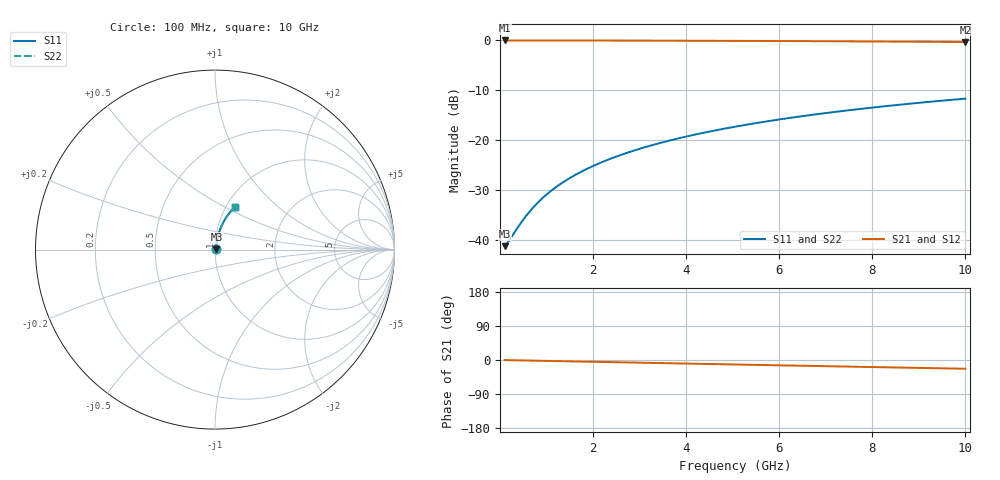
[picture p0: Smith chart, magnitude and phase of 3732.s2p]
# Hz S RI R 50.00
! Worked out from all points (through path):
!   100 points, 100 MHz to 10 GHz, reference 50 ohm
!   highest |S21| = -0.07 dB at 100 MHz (marker M1); lowest = -0.4 dB at 10 GHz (marker M2)
!   group delay of S21, straight-line fit = 6.42 ps
!   lowest |S11| = -41.2 dB at 100 MHz (marker M3), VSWR 1.02, Z = 50.8 + j0.274 ohm
!   |S11| at or under -10 dB: start of sweep to end of sweep
!   |S22| runs from -41.2 to -11.7 dB; largest |S21 - S12| = 0
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1e8  0.00829 0.00269  0.9917 -0.00408  0.9917 -0.00408  0.00829 0.00269
2e8  0.00837 0.00539  0.9916 -0.00816  0.9916 -0.00816  0.00837 0.00539
4e8  0.00858 0.0108  0.9914 -0.0163  0.9914 -0.0163  0.00858 0.0108
5e8  0.0087 0.0135  0.9913 -0.0204  0.9913 -0.0204  0.0087 0.0135
6e8  0.00885 0.0161  0.9911 -0.0245  0.9911 -0.0245  0.00885 0.0161
7e8  0.00902 0.0188  0.9909 -0.0285  0.9909 -0.0285  0.00902 0.0188
9e8  0.00941 0.0242  0.9905 -0.0367  0.9905 -0.0367  0.00941 0.0242
1.1e9  0.00988 0.0296  0.99 -0.0448  0.99 -0.0448  0.00988 0.0296
1.3e9  0.0104 0.0349  0.9894 -0.0529  0.9894 -0.0529  0.0104 0.0349
1.5e9  0.0111 0.0403  0.9887 -0.061  0.9887 -0.061  0.0111 0.0403
1.8e9  0.0122 0.0482  0.9874 -0.0732  0.9874 -0.0732  0.0122 0.0482
2.1e9  0.0135 0.0562  0.986 -0.0853  0.986 -0.0853  0.0135 0.0562
2.5e9  0.0156 0.0667  0.9838 -0.1013  0.9838 -0.1013  0.0156 0.0667
2.9e9  0.018 0.0771  0.9812 -0.1173  0.9812 -0.1173  0.018 0.0771
3.4e9  0.0214 0.0901  0.9774 -0.1372  0.9774 -0.1372  0.0214 0.0901
4.2e9  0.028 0.1103  0.9702 -0.1686  0.9702 -0.1686  0.028 0.1103
5.1e9  0.037 0.1325  0.9604 -0.2032  0.9604 -0.2032  0.037 0.1325
5.9e9  0.0462 0.1514  0.9503 -0.2333  0.9503 -0.2333  0.0462 0.1514
6.7e9  0.0566 0.1697  0.939 -0.2627  0.939 -0.2627  0.0566 0.1697
7.5e9  0.068 0.1871  0.9264 -0.2913  0.9264 -0.2913  0.068 0.1871
8.4e9  0.082 0.2056  0.911 -0.3224  0.911 -0.3224  0.082 0.2056
1e10  0.1097 0.2355  0.8804 -0.3748  0.8804 -0.3748  0.1097 0.2355
